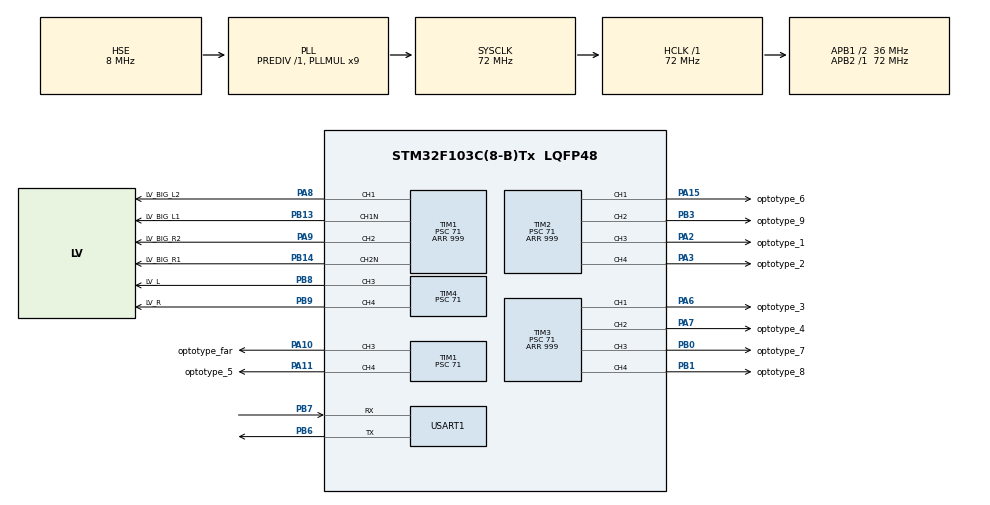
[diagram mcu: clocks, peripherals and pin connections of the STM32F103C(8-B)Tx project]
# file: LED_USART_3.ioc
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Mcu.Family=STM32F1
Mcu.Name=STM32F103C(8-B)Tx
Mcu.Package=LQFP48
NVIC.PriorityGroup=NVIC_PRIORITYGROUP_4
PA10.GPIO_Label=optotype_far
PA10.Signal=S_TIM1_CH3
PA11.GPIO_Label=optotype_5
PA11.Signal=S_TIM1_CH4
PA13.Mode=Serial_Wire
PA13.Signal=SYS_JTMS-SWDIO
PA14.Mode=Serial_Wire
PA14.Signal=SYS_JTCK-SWCLK
PA15.GPIO_Label=optotype_6
PA15.Signal=S_TIM2_CH1_ETR
PA2.GPIO_Label=optotype_1
PA2.Signal=S_TIM2_CH3
PA3.GPIO_Label=optotype_2
PA3.Signal=S_TIM2_CH4
PA6.GPIO_Label=optotype_3
PA6.Signal=S_TIM3_CH1
PA7.GPIO_Label=optotype_4
PA7.Signal=S_TIM3_CH2
PA8.GPIO_Label=LV_BIG_L2
PA8.Signal=S_TIM1_CH1
PA9.GPIO_Label=LV_BIG_R2
PA9.Signal=S_TIM1_CH2
PB0.GPIO_Label=optotype_7
PB0.Signal=S_TIM3_CH3
PB1.GPIO_Label=optotype_8
PB1.Signal=S_TIM3_CH4
PB13.GPIO_Label=LV_BIG_L1
PB13.Mode=Output Compare1 CH1 CH1N
PB13.Signal=TIM1_CH1N
PB14.GPIO_Label=LV_BIG_R1
PB14.Mode=Output Compare2 CH2 CH2N
PB14.Signal=TIM1_CH2N
PB3.GPIO_Label=optotype_9
PB3.Signal=S_TIM2_CH2
PB6.GPIO_Speed=GPIO_SPEED_FREQ_HIGH
PB6.Mode=Asynchronous
PB6.Signal=USART1_TX
PB7.GPIO_PuPd=GPIO_NOPULL
PB7.Mode=Asynchronous
PB7.Signal=USART1_RX
PB8.GPIO_Label=LV_L
PB8.Signal=S_TIM4_CH3
PB9.GPIO_Label=LV_R
PB9.Signal=S_TIM4_CH4
PD0-OSC_IN.Mode=HSE-External-Oscillator
PD0-OSC_IN.Signal=RCC_OSC_IN
PD1-OSC_OUT.Mode=HSE-External-Oscillator
PD1-OSC_OUT.Signal=RCC_OSC_OUT
ProjectManager.HeapSize=0x200
ProjectManager.StackSize=0x400
ProjectManager.TargetToolchain=MDK-ARM V5.27
RCC.AHBFreq_Value=72000000
RCC.APB1CLKDivider=RCC_HCLK_DIV2
RCC.APB1Freq_Value=36000000
RCC.APB1TimFreq_Value=72000000
RCC.APB2Freq_Value=72000000
RCC.APB2TimFreq_Value=72000000
RCC.HCLKFreq_Value=72000000
RCC.PLLMUL=RCC_PLL_MUL9
RCC.PLLSourceVirtual=RCC_PLLSOURCE_HSE
RCC.SYSCLKFreq_VALUE=72000000
RCC.SYSCLKSource=RCC_SYSCLKSOURCE_PLLCLK
RCC.USBFreq_Value=72000000
SH.S_TIM1_CH1.0=TIM1_CH1,Output Compare1 CH1 CH1N
SH.S_TIM1_CH2.0=TIM1_CH2,Output Compare2 CH2 CH2N
SH.S_TIM1_CH3.0=TIM1_CH3,PWM Generation3 CH3
SH.S_TIM1_CH4.0=TIM1_CH4,PWM Generation4 CH4
SH.S_TIM2_CH1_ETR.0=TIM2_CH1,PWM Generation1 CH1
SH.S_TIM2_CH2.0=TIM2_CH2,PWM Generation2 CH2
SH.S_TIM2_CH3.0=TIM2_CH3,PWM Generation3 CH3
SH.S_TIM2_CH4.0=TIM2_CH4,PWM Generation4 CH4
SH.S_TIM3_CH1.0=TIM3_CH1,PWM Generation1 CH1
SH.S_TIM3_CH2.0=TIM3_CH2,PWM Generation2 CH2
SH.S_TIM3_CH3.0=TIM3_CH3,PWM Generation3 CH3
SH.S_TIM3_CH4.0=TIM3_CH4,PWM Generation4 CH4
SH.S_TIM4_CH3.0=TIM4_CH3,PWM Generation3 CH3
SH.S_TIM4_CH4.0=TIM4_CH4,PWM Generation4 CH4
TIM1.AutoReloadPreload=TIM_AUTORELOAD_PRELOAD_ENABLE
TIM1.Channel-Output\ Compare1\ CH1\ CH1N=TIM_CHANNEL_1
TIM1.Channel-Output\ Compare2\ CH2\ CH2N=TIM_CHANNEL_2
TIM1.Channel-PWM\ Generation3\ CH3=TIM_CHANNEL_3
TIM1.Channel-PWM\ Generation4\ CH4=TIM_CHANNEL_4
TIM1.OCMode_1=TIM_OCMODE_TOGGLE
TIM1.OCMode_2=TIM_OCMODE_TOGGLE
TIM1.Period=999
TIM1.Prescaler=71
TIM1.Pulse-Output\ Compare1\ CH1\ CH1N=499
TIM1.Pulse-Output\ Compare2\ CH2\ CH2N=499
TIM2.Channel-PWM\ Generation1\ CH1=TIM_CHANNEL_1
TIM2.Channel-PWM\ Generation2\ CH2=TIM_CHANNEL_2
TIM2.Channel-PWM\ Generation3\ CH3=TIM_CHANNEL_3
TIM2.Channel-PWM\ Generation4\ CH4=TIM_CHANNEL_4
TIM2.Period=999
TIM2.Prescaler=71
TIM3.Channel-PWM\ Generation1\ CH1=TIM_CHANNEL_1
TIM3.Channel-PWM\ Generation2\ CH2=TIM_CHANNEL_2
TIM3.Channel-PWM\ Generation3\ CH3=TIM_CHANNEL_3
TIM3.Channel-PWM\ Generation4\ CH4=TIM_CHANNEL_4
TIM3.Period=999
TIM3.Prescaler=71
TIM4.AutoReloadPreload=TIM_AUTORELOAD_PRELOAD_ENABLE
TIM4.Channel-PWM\ Generation3\ CH3=TIM_CHANNEL_3
TIM4.Channel-PWM\ Generation4\ CH4=TIM_CHANNEL_4
TIM4.Period=999
TIM4.Prescaler=71
USART1.VirtualMode=VM_ASYNC
VP_TIM1_VS_ClockSourceINT.Mode=Internal
VP_TIM2_VS_ClockSourceINT.Mode=Internal
VP_TIM3_VS_ClockSourceINT.Mode=Internal
VP_TIM4_VS_ClockSourceINT.Mode=Internal
board=custom

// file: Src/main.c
/* USER CODE BEGIN Header */
/**
  ******************************************************************************
  * @file           : main.c
  * @brief          : Main program body
  ******************************************************************************
  * @attention
  *
  * <h2><center>&copy; Copyright (c) 2024 STMicroelectronics.
  * All rights reserved.</center></h2>
  *
  * This software component is licensed by ST under BSD 3-Clause license,
  * the "License"; You may not use this file except in compliance with the
  * License. You may obtain a copy of the License at:
  *                        opensource.org/licenses/BSD-3-Clause
  *
  ******************************************************************************
  */
/* USER CODE END Header */

#include "main.h"
#include "tim.h"
#include "usart.h"
#include "gpio.h"

/* USER CODE BEGIN Includes */
#include "string.h"
#include "stdio.h"
/* USER CODE END Includes */

void SystemClock_Config(void);

int main(void)
{
  /* USER CODE BEGIN 1 */
char ch;
  /* USER CODE END 1 */

  /* MCU Configuration--------------------------------------------------------*/

  /* Reset of all peripherals, Initializes the Flash interface and the Systick. */
  HAL_Init();

  /* Configure the system clock */
  SystemClock_Config();

  /* Initialize all configured peripherals */
  MX_GPIO_Init();
  MX_TIM1_Init();
  MX_TIM2_Init();
  MX_TIM3_Init();
  MX_TIM4_Init();
  MX_USART1_UART_Init();
  /* USER CODE BEGIN 2 */
		PWM_Config_LED(1000, 50);
		PWM_Config_LV(2000, 100);
		PWM_Config_far(1000, 40);

  /* USER CODE END 2 */

  /* Infinite loop */
  while (1)
  {

    /* USER CODE BEGIN 3 */

//
		ch=getchar();
//    printf("接受到字符:%c\n",ch);
		  switch(ch)
    {
      case '1':
				INIT_LED;
        LED1_ON;
      break;
      case '2':
				INIT_LED;
        LED2_ON;
      break;
      case '3':
				INIT_LED;
        LED3_ON;
      break;
      case '4':
				INIT_LED;
        LED4_ON;
      break;
      case '5':
				INIT_LED;
        LED5_ON;
      break;
      case '6':
				INIT_LED;
        LED6_ON;
      break;
      case '7':
				INIT_LED;
				LED7_ON;
      break;
      case '8':
				INIT_LED;
        LED8_ON;
      break;
      case '9':
				INIT_LED;
        LED9_ON;
      break;
			case 'f':
				INIT_LED;
        LED_far_ON;
      case 'L':
        LV_left_on;
      break;
      case 'R':
        LV_right_on;
      break;
      case 'i':
        INIT_LV;
      break;
      case 'I':
				INIT_LED;
        INIT_LV;
      break;
			case 'A':
				ALL_LED;
			break;
			case 'H':
			PWM_Config_LED(1000, 16000);
      break;
			case 'M':
			PWM_Config_LED(1000, 10000);
      break;
			case 'S':
			PWM_Config_LED(40, 1);
      break;
      default:
			break;
    }

  }
  /* USER CODE END 3 */
}

void SystemClock_Config(void)
{
  RCC_OscInitTypeDef RCC_OscInitStruct = {0};
  RCC_ClkInitTypeDef RCC_ClkInitStruct = {0};

  /** Initializes the CPU, AHB and APB busses clocks
  */
  RCC_OscInitStruct.OscillatorType = RCC_OSCILLATORTYPE_HSE;
  RCC_OscInitStruct.HSEState = RCC_HSE_ON;
  RCC_OscInitStruct.HSEPredivValue = RCC_HSE_PREDIV_DIV1;
  RCC_OscInitStruct.HSIState = RCC_HSI_ON;
  RCC_OscInitStruct.PLL.PLLState = RCC_PLL_ON;
  RCC_OscInitStruct.PLL.PLLSource = RCC_PLLSOURCE_HSE;
  RCC_OscInitStruct.PLL.PLLMUL = RCC_PLL_MUL9;
  if (HAL_RCC_OscConfig(&RCC_OscInitStruct) != HAL_OK)
  {
    Error_Handler();
  }
  /** Initializes the CPU, AHB and APB busses clocks
  */
  RCC_ClkInitStruct.ClockType = RCC_CLOCKTYPE_HCLK|RCC_CLOCKTYPE_SYSCLK
                              |RCC_CLOCKTYPE_PCLK1|RCC_CLOCKTYPE_PCLK2;
  RCC_ClkInitStruct.SYSCLKSource = RCC_SYSCLKSOURCE_PLLCLK;
  RCC_ClkInitStruct.AHBCLKDivider = RCC_SYSCLK_DIV1;
  RCC_ClkInitStruct.APB1CLKDivider = RCC_HCLK_DIV2;
  RCC_ClkInitStruct.APB2CLKDivider = RCC_HCLK_DIV1;

  if (HAL_RCC_ClockConfig(&RCC_ClkInitStruct, FLASH_LATENCY_2) != HAL_OK)
  {
    Error_Handler();
  }
}

/* USER CODE BEGIN 4 */
void PWM_Config_LED(uint32_t Freq, uint32_t Duty)
{
    uint32_t arr = 1000000 / Freq - 1;
    uint32_t ccr = (uint32_t)Duty * arr / 20000;
		__HAL_TIM_SetAutoreload(&htim1, arr);
    __HAL_TIM_SetAutoreload(&htim2, arr);
	  __HAL_TIM_SetAutoreload(&htim3, arr);
	  __HAL_TIM_SetCompare(&htim3, TIM_CHANNEL_1, ccr);
		__HAL_TIM_SetCompare(&htim3, TIM_CHANNEL_2, ccr);
    __HAL_TIM_SetCompare(&htim3, TIM_CHANNEL_3, ccr);
		__HAL_TIM_SetCompare(&htim3, TIM_CHANNEL_4, ccr);
    __HAL_TIM_SetCompare(&htim2, TIM_CHANNEL_1, ccr);
		__HAL_TIM_SetCompare(&htim2, TIM_CHANNEL_2, ccr);
    __HAL_TIM_SetCompare(&htim2, TIM_CHANNEL_3, ccr);
		__HAL_TIM_SetCompare(&htim2, TIM_CHANNEL_4, ccr);
		__HAL_TIM_SetCompare(&htim1, TIM_CHANNEL_4, ccr);

}
void PWM_Config_LV(uint32_t Freq, uint8_t Duty)
{
    uint32_t arr = 1000000 / Freq - 1;
    uint32_t ccr = (uint32_t)Duty * arr / 100;
	  __HAL_TIM_SetAutoreload(&htim4, arr);
		__HAL_TIM_SetCompare(&htim4, TIM_CHANNEL_1, ccr);
		__HAL_TIM_SetCompare(&htim4, TIM_CHANNEL_2, ccr);
    __HAL_TIM_SetCompare(&htim4, TIM_CHANNEL_3, ccr);
		__HAL_TIM_SetCompare(&htim4, TIM_CHANNEL_4, ccr);

}

void PWM_Config_far(uint32_t Freq, uint8_t Duty)
{
 uint32_t arr = 1000000 / Freq - 1;
	uint32_t ccr = (uint32_t)Duty * arr / 100;
	__HAL_TIM_SetAutoreload(&htim1, arr);
	__HAL_TIM_SetCompare(&htim1, TIM_CHANNEL_3, ccr);
}
/* USER CODE END 4 */

void Error_Handler(void)
{
}

/************************ (C) COPYRIGHT STMicroelectronics *****END OF FILE****/
